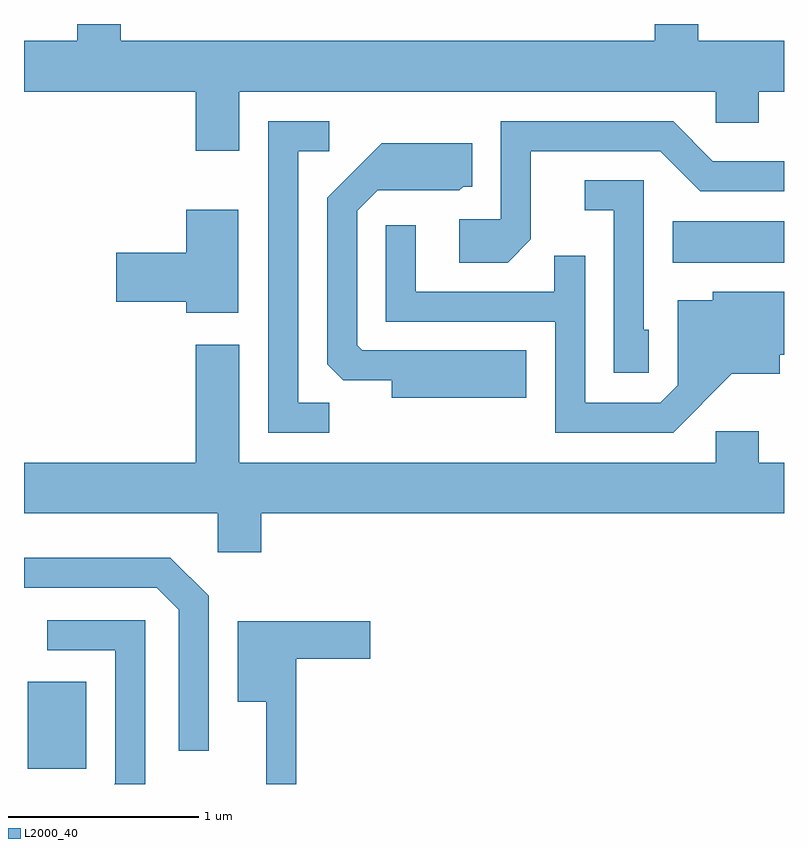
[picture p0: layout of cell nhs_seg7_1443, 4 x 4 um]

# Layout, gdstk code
import gdstk
lib = gdstk.Library(unit=1e-6, precision=1e-09)
def R(c, l, rs):  # rectangles x0, y0, x1, y1
    for r in rs: c.add(gdstk.rectangle(r[:2], r[2:], *l))
def P(c, l, *ps):  # polygons
    for p in ps: c.add(gdstk.Polygon(p, *l))
L2000_40 = (2000, 40)

nhs_seg7_1443 = lib.new_cell('nhs_seg7_1443')
R(nhs_seg7_1443, L2000_40, [(229.631,1686.331,229.939,1686.789), (233.026,1688.996,233.611,1689.214)])
P(nhs_seg7_1443, L2000_40, [(230.744,1689.896),(233.251,1689.896),(233.251,1689.731),(233.479,1689.731),(233.479,1689.896),(233.611,1689.896),(233.611,1690.164),(233.159,1690.164),(233.159,1690.252),(232.931,1690.252),(232.931,1690.164),(230.119,1690.164),(230.119,1690.252),(229.891,1690.252),(229.891,1690.164),(229.611,1690.164),(229.611,1689.896),(230.516,1689.896),(230.516,1689.586),(230.744,1689.586)],
  [(231.218,1688.259),(231.054,1688.259),(231.054,1689.581),(231.218,1689.581),(231.218,1689.739),(230.896,1689.739),(230.896,1688.101),(231.218,1688.101)],
  [(232.279,1689.119),(232.279,1689.581),(232.959,1689.581),(233.169,1689.371),(233.611,1689.371),(233.611,1689.529),(233.237,1689.529),(233.027,1689.739),(232.121,1689.739),(232.121,1689.224),(231.901,1689.224),(231.901,1688.996),(232.157,1688.996)],
  [(232.254,1688.534),(231.392,1688.534),(231.364,1688.562),(231.364,1689.269),(231.472,1689.376),(231.902,1689.376),(231.922,1689.396),(231.969,1689.396),(231.969,1689.624),(231.494,1689.624),(231.206,1689.337),(231.206,1688.462),(231.292,1688.376),(231.546,1688.376),(231.546,1688.286),(232.254,1688.286)],
  [(232.899,1688.644),(232.874,1688.644),(232.874,1689.429),(232.563,1689.429),(232.563,1689.271),(232.716,1689.271),(232.716,1688.416),(232.899,1688.416)],
  [(230.739,1689.274),(230.466,1689.274),(230.466,1689.049),(230.096,1689.049),(230.096,1688.791),(230.466,1688.791),(230.466,1688.731),(230.739,1688.731)],
  [(233.337,1688.411),(233.589,1688.411),(233.589,1688.511),(233.611,1688.511),(233.611,1688.844),(233.236,1688.844),(233.236,1688.799),(233.051,1688.799),(233.051,1688.352),(232.959,1688.259),(232.564,1688.259),(232.564,1689.033),(232.401,1689.033),(232.401,1688.844),(231.674,1688.844),(231.674,1689.193),(231.516,1689.193),(231.516,1688.686),(232.406,1688.686),(232.406,1688.101),(233.027,1688.101)],
  [(230.859,1687.676),(233.611,1687.676),(233.611,1687.944),(233.479,1687.944),(233.479,1688.109),(233.251,1688.109),(233.251,1687.944),(230.744,1687.944),(230.744,1688.564),(230.516,1688.564),(230.516,1687.944),(229.611,1687.944),(229.611,1687.676),(230.631,1687.676),(230.631,1687.471),(230.859,1687.471)],
  [(230.584,1687.242),(230.382,1687.444),(229.611,1687.444),(229.611,1687.286),(230.309,1687.286),(230.426,1687.169),(230.426,1686.428),(230.584,1686.428)],
  [(230.249,1687.114),(229.733,1687.114),(229.733,1686.956),(230.091,1686.956),(230.091,1686.257),(230.086,1686.252),(230.249,1686.252)],
  [(231.044,1686.911),(231.434,1686.911),(231.434,1687.109),(230.736,1687.109),(230.736,1686.686),(230.886,1686.686),(230.886,1686.252),(231.044,1686.252)])

lib.write_gds('nhs_seg7_1443.gds')
